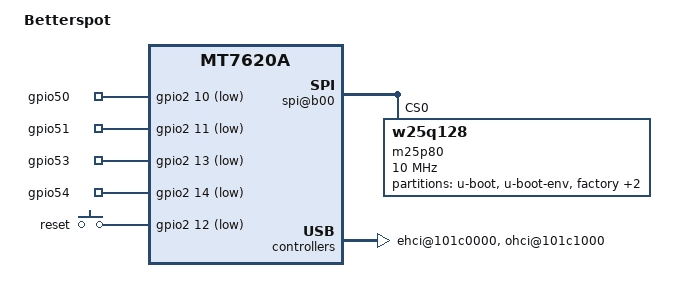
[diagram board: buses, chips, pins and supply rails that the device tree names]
/dts-v1/;

/include/ "mt7620a.dtsi"

/ {
	compatible = "betterspot", "ralink,mt7620a-soc";
	model = "Betterspot";

	chosen {
		bootargs = "console=ttyS0,115200";
	};

	palmbus@10000000 {
		gpio0: gpio@600 {
			status = "okay";
		};

		gpio1: gpio@638 {
			status = "okay";
		};

		gpio2: gpio@660 {
			status = "okay";
		};

		spi@b00 {
			status = "okay";

			m25p80@0 {
				#address-cells = <1>;
				#size-cells = <1>;
				compatible = "w25q128";
				reg = <0 0>;
				linux,modalias = "m25p80", "w25q128";
				spi-max-frequency = <10000000>;

				partition@0 {
					label = "u-boot";
					reg = <0x0 0x30000>;
				};

				partition@30000 {
					label = "u-boot-env";
					reg = <0x30000 0x10000>;
				};

				factory: partition@40000 {
					label = "factory";
					reg = <0x40000 0x10000>;
				};

				partition@50000 {
					label = "firmware";
					reg = <0x50000 0xf80000>;
				};

				partition@ff0000 {
					label = "art";
					reg = <0xff0000 0x10000>;
				};
			};
		};
	};

	ehci@101c0000 {
		status = "okay";
	};

	ohci@101c1000 {
		status = "okay";
	};

	ethernet@10100000 {
		pinctrl-names = "default";
		pinctrl-0 = <&ephy_pins>;
		mtd-mac-address = <&factory 0x4000>;
		ralink,port-map = "wllll";
	};

	wmac@10180000 {
		ralink,mtd-eeprom = <&factory 0>;
	};

	pinctrl {
		state_default: pinctrl0 {
			gpio {
				ralink,group = "wled","ephy","uartf","i2c";
				ralink,function = "gpio";
			};
		};
	};

	gpio_export {
		compatible = "gpio-export";
		#size-cells = <0>;

		gpio50 {
			gpio-export,name = "gpio50";
			gpio-export,output = <1>;
			gpios = <&gpio2 10 1>;
		};


		gpio51 {
			gpio-export,name = "gpio51";
			gpio-export,output = <1>;
			gpios = <&gpio2 11 1>;
		};


		gpio53 {
			gpio-export,name = "gpio53";
			gpio-export,output = <1>;
			gpios = <&gpio2 13 1>;
		};

		gpio54 {
			gpio-export,name = "gpio54";
			gpio-export,output = <1>;
			gpios = <&gpio2 14 1>;
		};

	};

	gpio-keys-polled {
		compatible = "gpio-keys-polled";
		#address-cells = <1>;
		#size-cells = <0>;
		poll-interval = <20>;

		reset {
			label = "reset";
			gpios = <&gpio2 12 1>;
			linux,code = <0x198>;
		};
	};
};
